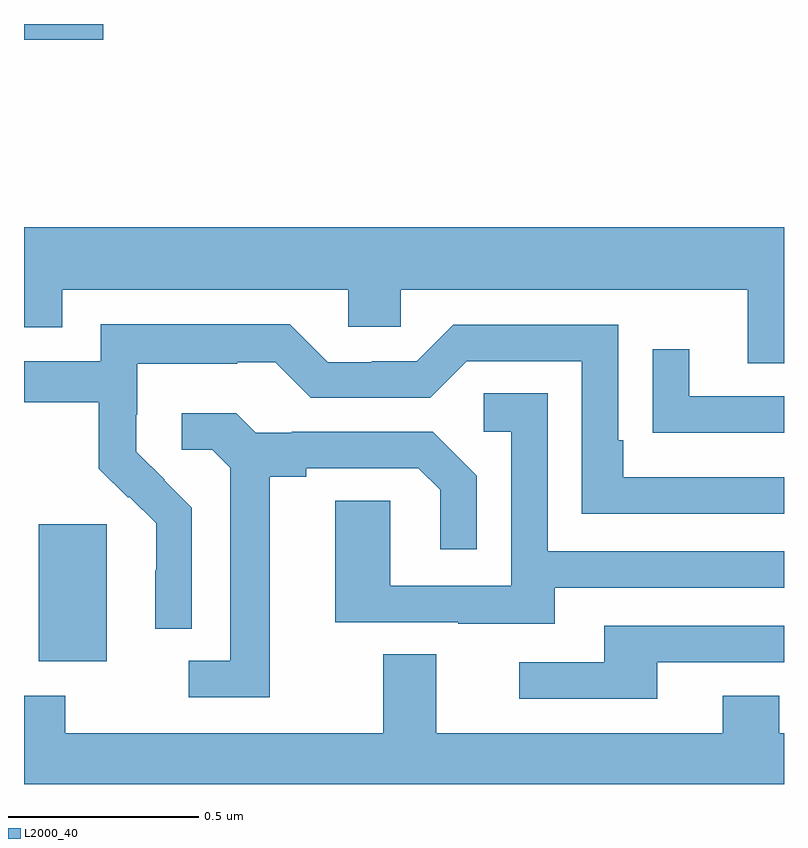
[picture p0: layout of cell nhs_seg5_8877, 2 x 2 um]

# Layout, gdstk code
import gdstk
lib = gdstk.Library(unit=1e-6, precision=1e-09)
def R(c, l, rs):  # rectangles x0, y0, x1, y1
    for r in rs: c.add(gdstk.rectangle(r[:2], r[2:], *l))
def P(c, l, *ps):  # polygons
    for p in ps: c.add(gdstk.Polygon(p, *l))
L2000_40 = (2000, 40)

nhs_seg5_8877 = lib.new_cell('nhs_seg5_8877')
R(nhs_seg5_8877, L2000_40, [(227.039,849.122,227.218,849.483), (227,850.757,227.209,850.799)])
P(nhs_seg5_8877, L2000_40, [(229,850.264),(227,850.264),(227,850.001),(227.101,850.001),(227.101,850.1),(227.853,850.1),(227.853,850.002),(227.991,850.002),(227.991,850.1),(228.905,850.1),(228.905,849.906),(229,849.906)],
  [(227.442,849.526),(227.369,849.599),(227.37,849.6),(227.296,849.674),(227.296,849.771),(227.298,849.771),(227.298,849.905),(227.561,849.905),(227.561,849.909),(227.661,849.909),(227.754,849.816),(228.069,849.816),(228.165,849.912),(228.468,849.912),(228.468,849.51),(229,849.51),(229,849.606),(228.577,849.606),(228.577,849.703),(228.564,849.703),(228.564,850.008),(228.129,850.008),(228.033,849.912),(227.915,849.912),(227.915,849.909),(227.799,849.909),(227.699,850.009),(227.202,850.009),(227.202,849.912),(227,849.912),(227,849.804),(227.197,849.804),(227.197,849.629),(227.274,849.552),(227.277,849.555),(227.348,849.485),(227.348,849.362),(227.346,849.362),(227.346,849.208),(227.442,849.208)],
  [(229,849.819),(228.751,849.819),(228.751,849.943),(228.655,849.943),(228.655,849.724),(228.757,849.724),(228.757,849.723),(229,849.723)],
  [(228.397,849.315),(229,849.315),(229,849.411),(228.378,849.411),(228.378,849.827),(228.21,849.827),(228.21,849.726),(228.282,849.726),(228.282,849.321),(227.964,849.321),(227.964,849.545),(227.819,849.545),(227.819,849.225),(228.143,849.225),(228.143,849.221),(228.397,849.221)],
  [(227.647,849.608),(227.743,849.608),(227.743,849.63),(228.038,849.63),(228.095,849.573),(228.095,849.417),(228.192,849.417),(228.192,849.61),(228.076,849.726),(227.704,849.726),(227.704,849.723),(227.61,849.723),(227.558,849.775),(227.415,849.775),(227.415,849.678),(227.496,849.678),(227.543,849.631),(227.543,849.123),(227.433,849.123),(227.433,849.027),(227.647,849.027)],
  [(228.667,849.12),(229,849.12),(229,849.216),(228.527,849.216),(228.527,849.12),(228.303,849.12),(228.303,849.024),(228.667,849.024)],
  [(229,848.932),(228.987,848.932),(228.987,849.031),(228.839,849.031),(228.839,848.932),(228.085,848.932),(228.085,849.14),(227.945,849.14),(227.945,848.932),(227.109,848.932),(227.109,849.031),(227,849.031),(227,848.799),(229,848.799)])

lib.write_gds('nhs_seg5_8877.gds')
